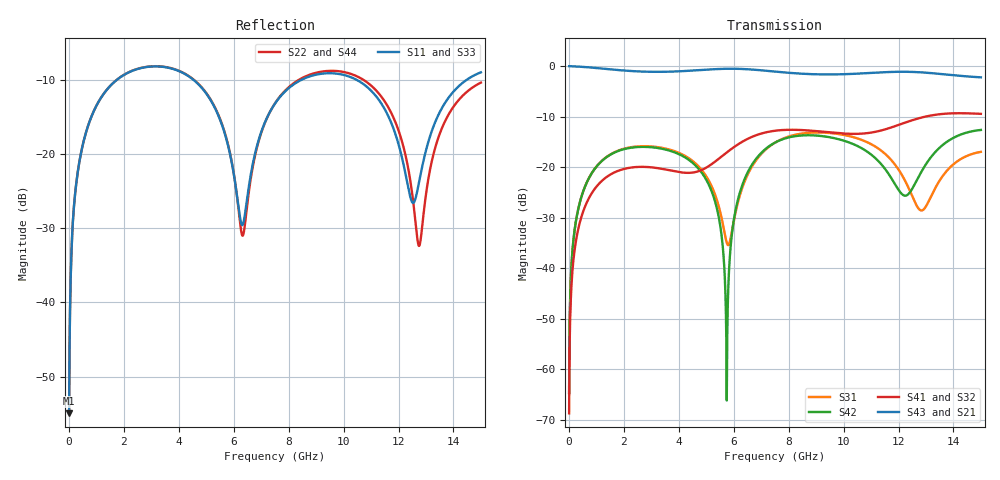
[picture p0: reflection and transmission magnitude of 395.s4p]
! Created with skrf 1.8.0 (http://scikit-rf.org).
# GHz S RI R 50.0
!freq ReS11 ImS11 ReS12 ImS12 ReS13 ImS13
! ReS14 ImS14
! ReS21 ImS21 ReS22 ImS22 ReS23 ImS23
! ReS24 ImS24
! ReS31 ImS31 ReS32 ImS32 ReS33 ImS33
! ReS34 ImS34
! ReS41 ImS41 ReS42 ImS42 ReS43 ImS43
! ReS44 ImS44
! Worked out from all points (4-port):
!   2499 points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, 5 MHz to 15 GHz, reference 50 ohm
!   strongest paths, dB at 5 MHz, 3.476 GHz, 7.19 GHz, 11.1 GHz, 15 GHz:
!     S43: 0.0, -1.1, -0.9, -1.3, -2.2
!     S21: 0.0, -1.1, -0.9, -1.3, -2.2
!     S41: -68.7, -20.4, -13.1, -13.1, -9.5
!     S32: -68.7, -20.4, -13.1, -13.1, -9.5
!     S42: -64.7, -16.5, -16.3, -17.9, -12.6
!     S31: -64.7, -16.3, -16.4, -15.7, -17.0
!   lowest |S11| = -55.0 dB at 5 MHz (marker M1), VSWR 1.00, Z = 50.1 + j0.108 ohm
!   |S11| at or under -10 dB: start of sweep to 1.728 GHz; 4.549 GHz to 8.44 GHz (3.891 GHz wide, 59.9 % of centre); 10.5 GHz to 14.46 GHz (3.969 GHz wide, 31.8 % of centre)
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0.005  0.00142 0.00108  0.9986 -0.00277  7.13e-05 0.000577  -6.91e-05 -0.000359
       0.9986 -0.00277  0.00142 0.00108  -6.91e-05 -0.000359  7.12e-05 0.000577
       7.13e-05 0.000577  -6.91e-05 -0.000359  0.00142 0.00108  0.9986 -0.00277
       -6.91e-05 -0.000359  7.12e-05 0.000577  0.9986 -0.00277  0.00142 0.00108
0.3626511  0.0236 0.0821  0.9674 -0.1995  0.0114 0.0396  -0.00934 -0.0244
           0.9674 -0.1995  0.0237 0.0821  -0.00934 -0.0244  0.0111 0.0397
           0.0114 0.0396  -0.00934 -0.0244  0.0236 0.0821  0.9674 -0.1994
           -0.00934 -0.0244  0.0111 0.0397  0.9674 -0.1994  0.0237 0.0821
1.619545  0.2388 0.1877  0.6124 -0.69  0.1205 0.0689  -0.0862 -0.0164
          0.6124 -0.69  0.2399 0.1871  -0.0862 -0.0164  0.1171 0.0729
          0.1205 0.0689  -0.0862 -0.0164  0.2388 0.1877  0.6125 -0.69
          -0.0862 -0.0164  0.1171 0.0729  0.6125 -0.69  0.2399 0.1871
4.845769  0.2099 -0.1841  -0.6168 -0.6775  0.0437 -0.0819  -0.0468 0.0815
          -0.6168 -0.6775  0.2073 -0.19  -0.047 0.0814  0.0571 -0.0659
          0.0437 -0.0819  -0.047 0.0814  0.209 -0.183  -0.6172 -0.6777
          -0.0468 0.0815  0.0571 -0.0659  -0.6172 -0.6777  0.2061 -0.1892
5.746144  0.0622 -0.1069  -0.8777 -0.339  -0.016 -0.00787  -0.0459 0.132
          -0.8777 -0.339  0.0577 -0.1115  -0.0461 0.1319  -0.000485 -6.09e-05
          -0.016 -0.00787  -0.0461 0.1319  0.062 -0.1048  -0.878 -0.3388
          -0.0459 0.132  -0.000485 -6.09e-05  -0.878 -0.3388  0.0564 -0.1098
7.27178  0.1251 0.1377  -0.8144 0.3718  0.1107 0.1129  0.1243 0.1863
         -0.8144 0.3718  0.1225 0.1394  0.1238 0.1863  0.1094 0.1166
         0.1107 0.1129  0.1238 0.1863  0.1272 0.1393  -0.814 0.3717
         0.1243 0.1863  0.1094 0.1166  -0.814 0.3717  0.1223 0.142
15  0.337 0.1185  0.4378 -0.6405  0.1412 -0.0112  -0.3078 -0.1368
    0.4378 -0.6405  0.2773 0.1258  -0.3062 -0.1387  0.2146 -0.0916
    0.1412 -0.0112  -0.3062 -0.1387  0.3402 0.1228  0.4407 -0.6367
    -0.3078 -0.1368  0.2146 -0.0916  0.4407 -0.6367  0.2797 0.1299
